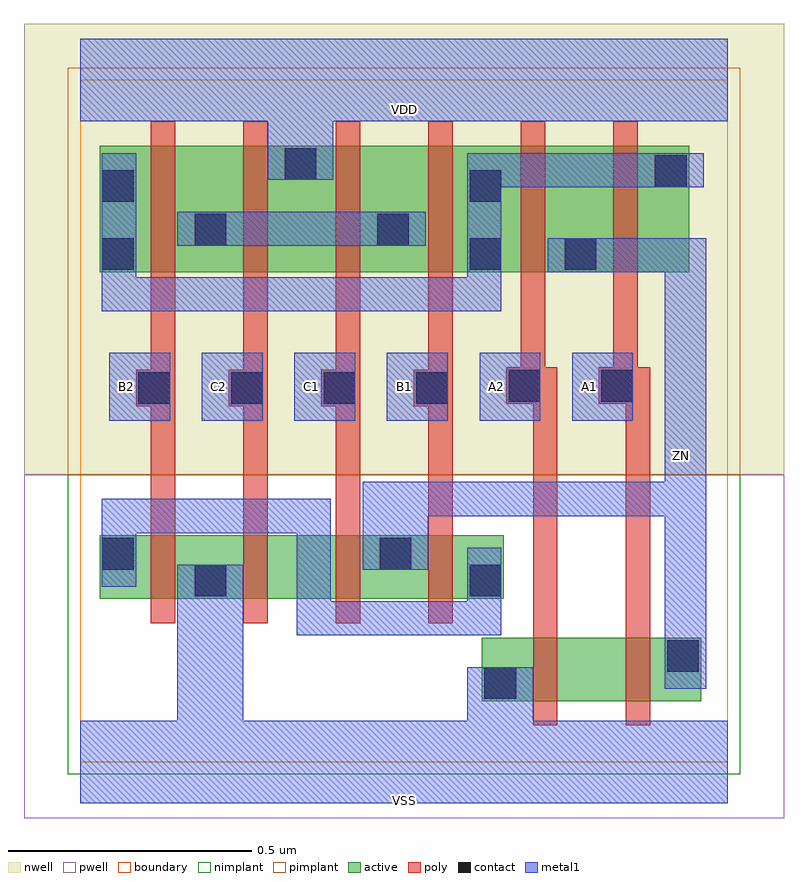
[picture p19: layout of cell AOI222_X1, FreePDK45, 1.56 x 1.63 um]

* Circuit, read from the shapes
.subckt AOI222_X1 A1 A2 B1 B2 C1 C2 VDD VSS ZN
M1 VSS B2 n1 VSUBS nfet w=0.13u l=0.05u
M2 n2 C2 VSS VSUBS nfet w=0.13u l=0.05u
M3 ZN C1 n2 VSUBS nfet w=0.13u l=0.05u
M4 n1 B1 ZN VSUBS nfet w=0.13u l=0.05u
M5 n3 A2 VSS VSUBS nfet w=0.13u l=0.05u
M6 ZN A1 n3 VSUBS nfet w=0.13u l=0.05u
M7 n4 B2 n5 n6 pfet w=0.26u l=0.05u
M8 VDD C2 n4 n6 pfet w=0.26u l=0.05u
M9 n4 C1 VDD n6 pfet w=0.26u l=0.05u
M10 n5 B1 n4 n6 pfet w=0.26u l=0.05u
M11 ZN A2 n5 n6 pfet w=0.26u l=0.05u
M12 n5 A1 ZN n6 pfet w=0.26u l=0.05u
.ends

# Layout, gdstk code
import gdstk
lib = gdstk.Library(unit=1e-6, precision=1e-10)
def R(c, l, rs):  # rectangles x0, y0, x1, y1
    for r in rs: c.add(gdstk.rectangle(r[:2], r[2:], *l))
def A(c, l, x, y, w, h, nx, ny, dx, dy):  # array of equal rectangles
    R(c, l, [(x+i*dx, y+j*dy, x+i*dx+w, y+j*dy+h) for i in range(nx) for j in range(ny)])
def P(c, l, *ps):  # polygons
    for p in ps: c.add(gdstk.Polygon(p, *l))
active = (1, 0)
pwell = (2, 0)
nwell = (3, 0)
nimplant = (4, 0)
pimplant = (5, 0)
poly = (9, 0)
contact = (10, 0)
metal1 = (11, 0)
boundary = (235, 0)

aoi222_x1 = lib.new_cell('AOI222_X1')
R(aoi222_x1, active, [(0.825,0.125,1.275,0.255), (0.04,0.335,0.87,0.465), (0.04,1.005,1.25,1.265)])
R(aoi222_x1, pwell, [(-0.115,-0.115,1.445,0.59)])
R(aoi222_x1, nwell, [(-0.115,0.59,1.445,1.515)])
R(aoi222_x1, nimplant, [(-0.025,-0.025,1.355,0.59)])
R(aoi222_x1, pimplant, [(-0.025,0.59,1.355,1.425)])
P(aoi222_x1, poly, [(0.115,0.73),(0.145,0.73),(0.145,0.285),(0.195,0.285),(0.195,1.315),(0.145,1.315),(0.145,0.805),(0.115,0.805)],
  [(0.305,0.73),(0.335,0.73),(0.335,0.285),(0.385,0.285),(0.385,1.315),(0.335,1.315),(0.335,0.805),(0.305,0.805)],
  [(0.495,0.73),(0.525,0.73),(0.525,0.285),(0.575,0.285),(0.575,1.315),(0.525,1.315),(0.525,0.805),(0.495,0.805)],
  [(0.685,0.73),(0.715,0.73),(0.715,0.285),(0.765,0.285),(0.765,1.315),(0.715,1.315),(0.715,0.805),(0.685,0.805)],
  [(0.875,0.735),(0.93,0.735),(0.93,0.075),(0.98,0.075),(0.98,0.81),(0.955,0.81),(0.955,1.315),(0.905,1.315),(0.905,0.81),(0.875,0.81)],
  [(1.065,0.735),(1.12,0.735),(1.12,0.075),(1.17,0.075),(1.17,0.81),(1.145,0.81),(1.145,1.315),(1.095,1.315),(1.095,0.81),(1.065,0.81)])
A(aoi222_x1, contact, 0.12, 0.735, 0.065, 0.065, 4, 1, 0.19, 0)
R(aoi222_x1, contact, [(0.83,0.13,0.895,0.195), (1.205,0.185,1.27,0.25), (0.235,0.34,0.3,0.405), (0.8,0.34,0.865,0.405), (0.045,0.395,0.11,0.46), (0.615,0.395,0.68,0.46), (0.88,0.74,0.945,0.805), (1.07,0.74,1.135,0.805), (0.045,1.01,0.11,1.075), (0.8,1.01,0.865,1.075), (0.995,1.01,1.06,1.075), (0.235,1.06,0.3,1.125), (0.61,1.06,0.675,1.125), (0.045,1.15,0.11,1.215), (0.8,1.15,0.865,1.215), (1.18,1.18,1.245,1.245), (0.42,1.195,0.485,1.26)])
A(aoi222_x1, metal1, 0.06, 0.7, 0.125, 0.14, 6, 1, 0.19, 0)
R(aoi222_x1, metal1, [(0.2,1.06,0.71,1.13)])
P(aoi222_x1, metal1, [(0.045,0.36),(0.115,0.36),(0.115,0.47),(0.445,0.47),(0.445,0.26),(0.865,0.26),(0.865,0.44),(0.795,0.44),(0.795,0.33),(0.515,0.33),(0.515,0.54),(0.045,0.54)],
  [(0.045,0.925),(0.865,0.925),(0.865,1.18),(1.28,1.18),(1.28,1.25),(0.795,1.25),(0.795,0.995),(0.115,0.995),(0.115,1.25),(0.045,1.25)],
  [(0.96,1.005),(1.2,1.005),(1.2,0.575),(0.58,0.575),(0.58,0.395),(0.715,0.395),(0.715,0.505),(1.2,0.505),(1.2,0.15),(1.285,0.15),(1.285,1.075),(0.96,1.075)],
  [(0,-0.085),(1.33,-0.085),(1.33,0.085),(0.93,0.085),(0.93,0.195),(0.795,0.195),(0.795,0.085),(0.335,0.085),(0.335,0.405),(0.2,0.405),(0.2,0.085),(0,0.085)],
  [(0,1.315),(0.385,1.315),(0.385,1.195),(0.52,1.195),(0.52,1.315),(1.33,1.315),(1.33,1.485),(0,1.485)])
R(aoi222_x1, boundary, [(0,0,1.33,1.4)])
aoi222_x1.add(gdstk.Label('A1', (1.045,0.77), layer=11, texttype=0))
aoi222_x1.add(gdstk.Label('A2', (0.855,0.77), layer=11, texttype=0))
aoi222_x1.add(gdstk.Label('B1', (0.665,0.77), layer=11, texttype=0))
aoi222_x1.add(gdstk.Label('B2', (0.095,0.77), layer=11, texttype=0))
aoi222_x1.add(gdstk.Label('C1', (0.475,0.77), layer=11, texttype=0))
aoi222_x1.add(gdstk.Label('C2', (0.285,0.77), layer=11, texttype=0))
aoi222_x1.add(gdstk.Label('VDD', (0.665,1.34), layer=11, texttype=0))
aoi222_x1.add(gdstk.Label('VSS', (0.665,-0.08), layer=11, texttype=0))
aoi222_x1.add(gdstk.Label('ZN', (1.235,0.63), layer=11, texttype=0))

lib.write_gds('AOI222_X1.gds')
